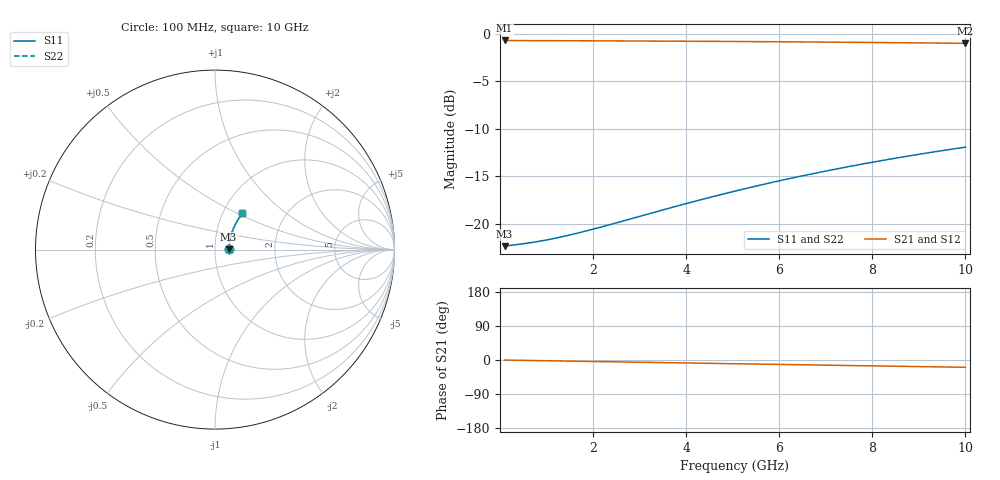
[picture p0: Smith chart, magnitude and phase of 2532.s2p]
# Hz S RI R 50.00
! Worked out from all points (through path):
!   100 points, 100 MHz to 10 GHz, reference 50 ohm
!   highest |S21| = -0.69 dB at 100 MHz (marker M1); lowest = -1.0 dB at 10 GHz (marker M2)
!   group delay of S21, straight-line fit = 5.35 ps
!   lowest |S11| = -22.4 dB at 100 MHz (marker M3), VSWR 1.16, Z = 58.2 + j0.264 ohm
!   |S11| at or under -10 dB: start of sweep to end of sweep
!   |S22| runs from -22.4 to -11.9 dB; largest |S21 - S12| = 0
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1e8  0.0759 0.00225  0.9241 -0.00318  0.9241 -0.00318  0.0759 0.00225
6e8  0.0777 0.0135  0.9223 -0.019  0.9223 -0.019  0.0777 0.0135
9e8  0.0785 0.0202  0.9214 -0.0285  0.9214 -0.0285  0.0785 0.0202
1.1e9  0.0791 0.0246  0.9208 -0.0348  0.9208 -0.0348  0.0791 0.0246
1.3e9  0.0797 0.0291  0.9202 -0.0411  0.9202 -0.0411  0.0797 0.0291
1.5e9  0.0803 0.0335  0.9196 -0.0473  0.9196 -0.0473  0.0803 0.0335
1.8e9  0.0814 0.0401  0.9185 -0.0567  0.9185 -0.0567  0.0814 0.0401
2.3e9  0.0833 0.0511  0.9164 -0.0724  0.9164 -0.0724  0.0833 0.0511
3.4e9  0.0887 0.075  0.9108 -0.1064  0.9108 -0.1064  0.0887 0.075
3.9e9  0.0917 0.0856  0.9076 -0.1217  0.9076 -0.1217  0.0917 0.0856
4.3e9  0.0943 0.0941  0.9048 -0.1338  0.9048 -0.1338  0.0943 0.0941
4.7e9  0.0972 0.1024  0.9018 -0.1458  0.9018 -0.1458  0.0972 0.1024
5.1e9  0.1002 0.1107  0.8986 -0.1578  0.8986 -0.1578  0.1002 0.1107
5.5e9  0.1035 0.1188  0.8952 -0.1696  0.8952 -0.1696  0.1035 0.1188
5.9e9  0.1069 0.1268  0.8915 -0.1814  0.8915 -0.1814  0.1069 0.1268
6.3e9  0.1106 0.1348  0.8876 -0.193  0.8876 -0.193  0.1106 0.1348
6.7e9  0.1144 0.1425  0.8835 -0.2045  0.8835 -0.2045  0.1144 0.1425
7.5e9  0.1227 0.1577  0.8747 -0.2271  0.8747 -0.2271  0.1227 0.1577
7.9e9  0.1271 0.1651  0.87 -0.2381  0.87 -0.2381  0.1271 0.1651
8.4e9  0.1329 0.1741  0.8639 -0.2518  0.8639 -0.2518  0.1329 0.1741
9.2e9  0.1427 0.1881  0.8535 -0.2732  0.8535 -0.2732  0.1427 0.1881
1e10  0.1531 0.2013  0.8424 -0.2939  0.8424 -0.2939  0.1531 0.2013
